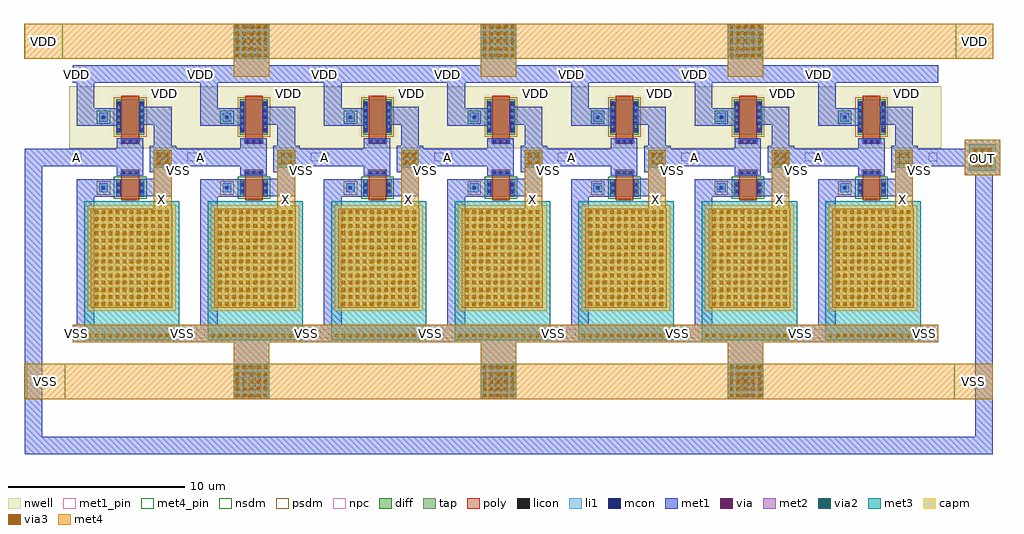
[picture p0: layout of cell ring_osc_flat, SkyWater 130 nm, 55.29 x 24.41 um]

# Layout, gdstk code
import gdstk
lib = gdstk.Library(unit=1e-6, precision=1e-09)
def R(c, l, rs):  # rectangles x0, y0, x1, y1
    for r in rs: c.add(gdstk.rectangle(r[:2], r[2:], *l))
def A(c, l, x, y, w, h, nx, ny, dx, dy):  # array of equal rectangles
    R(c, l, [(x+i*dx, y+j*dy, x+i*dx+w, y+j*dy+h) for i in range(nx) for j in range(ny)])
nwell = (64, 20)
diff = (65, 20)
tap = (65, 44)
poly = (66, 20)
licon = (66, 44)
li1 = (67, 20)
mcon = (67, 44)
met1_pin = (68, 16)
met1 = (68, 20)
via = (68, 44)
met2 = (69, 20)
via2 = (69, 44)
met3 = (70, 20)
via3 = (70, 44)
met4_pin = (71, 16)
met4 = (71, 20)
capm = (89, 44)
nsdm = (93, 44)
psdm = (94, 20)
npc = (95, 20)

ring_osc_flat = lib.new_cell('ring_osc_flat')
R(ring_osc_flat, nwell, [(-0.2,11,49.2,14.5)])
A(ring_osc_flat, diff, 2.47, 8.25, 1.6, 1, 7, 1, 7, 0)
A(ring_osc_flat, diff, 2.47, 11.77, 1.6, 2, 7, 1, 7, 0)
A(ring_osc_flat, tap, 1.5, 8.5, 0.5, 0.5, 7, 2, 7, 4)
A(ring_osc_flat, poly, 2.77, 8.05, 1, 1.73, 7, 1, 7, 0)
A(ring_osc_flat, poly, 2.77, 11.24, 1, 2.73, 7, 1, 7, 0)
A(ring_osc_flat, licon, 1.66, 8.66, 0.17, 0.17, 7, 2, 7, 4)
A(ring_osc_flat, licon, 2.82, 9.53, 0.17, 0.17, 3, 2, 0.36, 1.79)
A(ring_osc_flat, licon, 9.82, 9.53, 0.17, 0.17, 3, 2, 0.36, 1.79)
A(ring_osc_flat, licon, 16.82, 9.53, 0.17, 0.17, 3, 2, 0.36, 1.79)
A(ring_osc_flat, licon, 23.82, 9.53, 0.17, 0.17, 3, 2, 0.36, 1.79)
A(ring_osc_flat, licon, 30.82, 9.53, 0.17, 0.17, 3, 2, 0.36, 1.79)
A(ring_osc_flat, licon, 37.82, 9.53, 0.17, 0.17, 3, 2, 0.36, 1.79)
A(ring_osc_flat, licon, 44.82, 9.53, 0.17, 0.17, 3, 2, 0.36, 1.79)
A(ring_osc_flat, licon, 2.53, 11.96, 0.17, 0.17, 1, 5, 0, 0.36)
A(ring_osc_flat, licon, 3.83, 11.96, 0.17, 0.17, 1, 5, 0, 0.36)
A(ring_osc_flat, licon, 9.53, 11.96, 0.17, 0.17, 1, 5, 0, 0.36)
A(ring_osc_flat, licon, 10.83, 11.96, 0.17, 0.17, 1, 5, 0, 0.36)
A(ring_osc_flat, licon, 16.53, 11.96, 0.17, 0.17, 1, 5, 0, 0.36)
A(ring_osc_flat, licon, 17.83, 11.96, 0.17, 0.17, 1, 5, 0, 0.36)
A(ring_osc_flat, licon, 23.53, 11.96, 0.17, 0.17, 1, 5, 0, 0.36)
A(ring_osc_flat, licon, 24.83, 11.96, 0.17, 0.17, 1, 5, 0, 0.36)
A(ring_osc_flat, licon, 30.53, 11.96, 0.17, 0.17, 1, 5, 0, 0.36)
A(ring_osc_flat, licon, 31.83, 11.96, 0.17, 0.17, 1, 5, 0, 0.36)
A(ring_osc_flat, licon, 37.53, 11.96, 0.17, 0.17, 1, 5, 0, 0.36)
A(ring_osc_flat, licon, 38.83, 11.96, 0.17, 0.17, 1, 5, 0, 0.36)
A(ring_osc_flat, licon, 44.53, 11.96, 0.17, 0.17, 1, 5, 0, 0.36)
A(ring_osc_flat, licon, 45.83, 11.96, 0.17, 0.17, 1, 5, 0, 0.36)
R(ring_osc_flat, licon, [(2.53,8.48,2.7,8.65), (3.83,8.48,4,8.65), (9.53,8.48,9.7,8.65), (10.83,8.48,11,8.65), (16.53,8.48,16.7,8.65), (17.83,8.48,18,8.65), (23.53,8.48,23.7,8.65), (24.83,8.48,25,8.65), (30.53,8.48,30.7,8.65), (31.83,8.48,32,8.65), (37.53,8.48,37.7,8.65), (38.83,8.48,39,8.65), (44.53,8.48,44.7,8.65), (45.83,8.48,46,8.65), (2.53,8.84,2.7,9.01), (3.83,8.84,4,9.01), (9.53,8.84,9.7,9.01), (10.83,8.84,11,9.01), (16.53,8.84,16.7,9.01), (17.83,8.84,18,9.01), (23.53,8.84,23.7,9.01), (24.83,8.84,25,9.01), (30.53,8.84,30.7,9.01), (31.83,8.84,32,9.01), (37.53,8.84,37.7,9.01), (38.83,8.84,39,9.01), (44.53,8.84,44.7,9.01), (45.83,8.84,46,9.01)])
A(ring_osc_flat, li1, 1.5, 8.5, 0.5, 0.5, 7, 2, 7, 4)
A(ring_osc_flat, li1, 2.74, 9.53, 1.05, 0.17, 7, 2, 7, 1.79)
R(ring_osc_flat, li1, [(2.53,8.4,2.7,9.09), (3.83,8.4,4,9.09), (9.53,8.4,9.7,9.09), (10.83,8.4,11,9.09), (16.53,8.4,16.7,9.09), (17.83,8.4,18,9.09), (23.53,8.4,23.7,9.09), (24.83,8.4,25,9.09), (30.53,8.4,30.7,9.09), (31.83,8.4,32,9.09), (37.53,8.4,37.7,9.09), (38.83,8.4,39,9.09), (44.53,8.4,44.7,9.09), (45.83,8.4,46,9.09), (2.53,11.88,2.7,13.65), (3.83,11.88,4,13.65), (9.53,11.88,9.7,13.65), (10.83,11.88,11,13.65), (16.53,11.88,16.7,13.65), (17.83,11.88,18,13.65), (23.53,11.88,23.7,13.65), (24.83,11.88,25,13.65), (30.53,11.88,30.7,13.65), (31.83,11.88,32,13.65), (37.53,11.88,37.7,13.65), (38.83,11.88,39,13.65), (44.53,11.88,44.7,13.65), (45.83,11.88,46,13.65)])
A(ring_osc_flat, mcon, 1.66, 8.66, 0.17, 0.17, 7, 2, 7, 4)
A(ring_osc_flat, mcon, 2.82, 9.53, 0.17, 0.17, 3, 2, 0.36, 1.79)
A(ring_osc_flat, mcon, 9.82, 9.53, 0.17, 0.17, 3, 2, 0.36, 1.79)
A(ring_osc_flat, mcon, 16.82, 9.53, 0.17, 0.17, 3, 2, 0.36, 1.79)
A(ring_osc_flat, mcon, 23.82, 9.53, 0.17, 0.17, 3, 2, 0.36, 1.79)
A(ring_osc_flat, mcon, 30.82, 9.53, 0.17, 0.17, 3, 2, 0.36, 1.79)
A(ring_osc_flat, mcon, 37.82, 9.53, 0.17, 0.17, 3, 2, 0.36, 1.79)
A(ring_osc_flat, mcon, 44.82, 9.53, 0.17, 0.17, 3, 2, 0.36, 1.79)
A(ring_osc_flat, mcon, 2.53, 11.96, 0.17, 0.17, 1, 5, 0, 0.36)
A(ring_osc_flat, mcon, 3.83, 11.96, 0.17, 0.17, 1, 5, 0, 0.36)
A(ring_osc_flat, mcon, 9.53, 11.96, 0.17, 0.17, 1, 5, 0, 0.36)
A(ring_osc_flat, mcon, 10.83, 11.96, 0.17, 0.17, 1, 5, 0, 0.36)
A(ring_osc_flat, mcon, 16.53, 11.96, 0.17, 0.17, 1, 5, 0, 0.36)
A(ring_osc_flat, mcon, 17.83, 11.96, 0.17, 0.17, 1, 5, 0, 0.36)
A(ring_osc_flat, mcon, 23.53, 11.96, 0.17, 0.17, 1, 5, 0, 0.36)
A(ring_osc_flat, mcon, 24.83, 11.96, 0.17, 0.17, 1, 5, 0, 0.36)
A(ring_osc_flat, mcon, 30.53, 11.96, 0.17, 0.17, 1, 5, 0, 0.36)
A(ring_osc_flat, mcon, 31.83, 11.96, 0.17, 0.17, 1, 5, 0, 0.36)
A(ring_osc_flat, mcon, 37.53, 11.96, 0.17, 0.17, 1, 5, 0, 0.36)
A(ring_osc_flat, mcon, 38.83, 11.96, 0.17, 0.17, 1, 5, 0, 0.36)
A(ring_osc_flat, mcon, 44.53, 11.96, 0.17, 0.17, 1, 5, 0, 0.36)
A(ring_osc_flat, mcon, 45.83, 11.96, 0.17, 0.17, 1, 5, 0, 0.36)
R(ring_osc_flat, mcon, [(2.53,8.48,2.7,8.65), (3.83,8.48,4,8.65), (9.53,8.48,9.7,8.65), (10.83,8.48,11,8.65), (16.53,8.48,16.7,8.65), (17.83,8.48,18,8.65), (23.53,8.48,23.7,8.65), (24.83,8.48,25,8.65), (30.53,8.48,30.7,8.65), (31.83,8.48,32,8.65), (37.53,8.48,37.7,8.65), (38.83,8.48,39,8.65), (44.53,8.48,44.7,8.65), (45.83,8.48,46,8.65), (2.53,8.84,2.7,9.01), (3.83,8.84,4,9.01), (9.53,8.84,9.7,9.01), (10.83,8.84,11,9.01), (16.53,8.84,16.7,9.01), (17.83,8.84,18,9.01), (23.53,8.84,23.7,9.01), (24.83,8.84,25,9.01), (30.53,8.84,30.7,9.01), (31.83,8.84,32,9.01), (37.53,8.84,37.7,9.01), (38.83,8.84,39,9.01), (44.53,8.84,44.7,9.01), (45.83,8.84,46,9.01)])
A(ring_osc_flat, met1_pin, 0, 0.23, 0.5, 0.5, 7, 2, 7, 14.72)
R(ring_osc_flat, met1_pin, [(0,10.25,0.5,10.75), (6.49,10.25,6.99,10.75), (7,10.25,7.5,10.75), (13.49,10.25,13.99,10.75), (14,10.25,14.5,10.75), (20.49,10.25,20.99,10.75), (21,10.25,21.5,10.75), (27.49,10.25,27.99,10.75), (28,10.25,28.5,10.75), (34.49,10.25,34.99,10.75), (35,10.25,35.5,10.75), (41.49,10.25,41.99,10.75), (42,10.25,42.5,10.75), (48.49,10.25,48.99,10.75)])
A(ring_osc_flat, met1, 9.13, -3.21, 2, 3.21, 3, 1, 14, 0)
A(ring_osc_flat, met1, 0.24, 1, 1, 7.25, 7, 1, 7, 0)
A(ring_osc_flat, met1, 0.24, 8.25, 2.49, 1, 7, 2, 7, 4.02)
A(ring_osc_flat, met1, 3.8, 8.27, 1.81, 1, 7, 1, 7, 0)
A(ring_osc_flat, met1, 4.61, 9.27, 1, 0.38, 7, 1, 7, 0)
A(ring_osc_flat, met1, 2.5, 9.45, 1.5, 0.52, 7, 1, 7, 0)
A(ring_osc_flat, met1, 4.38, 9.65, 1.5, 0.32, 7, 1, 7, 0)
A(ring_osc_flat, met1, 4.38, 9.97, 6.62, 1, 6, 1, 7, 0)
A(ring_osc_flat, met1, 2.5, 10.97, 1.5, 0.58, 7, 1, 7, 0)
A(ring_osc_flat, met1, 4.38, 10.97, 1.5, 0.18, 7, 1, 7, 0)
A(ring_osc_flat, met1, 4.61, 11.15, 1, 1.19, 7, 1, 7, 0)
A(ring_osc_flat, met1, 2.5, 11.9, 0.23, 0.37, 7, 1, 7, 0)
A(ring_osc_flat, met1, 3.8, 11.9, 0.23, 0.44, 7, 1, 7, 0)
A(ring_osc_flat, met1, 3.77, 12.34, 1.84, 1, 7, 1, 7, 0)
A(ring_osc_flat, met1, 0.24, 13.27, 1, 1.43, 7, 1, 7, 0)
A(ring_osc_flat, met1, 2.5, 13.27, 0.23, 0.36, 7, 1, 7, 0)
A(ring_osc_flat, met1, 3.8, 13.34, 0.23, 0.29, 7, 1, 7, 0)
A(ring_osc_flat, met1, 9.13, 15.7, 2, 2.36, 3, 1, 14, 0)
R(ring_osc_flat, met1, [(-2.72,-6.35,52.13,-5.35), (-2.72,-5.35,-1.72,9.97), (51.13,-5.35,52.13,9.47), (0,0,49.03,1), (50.54,9.47,52.54,9.97), (-2.72,9.97,4,10.97), (46.38,9.97,52.54,10.97), (50.54,10.97,52.54,11.47), (0,14.7,49.03,15.7)])
A(ring_osc_flat, via, 9.255, -3.085, 0.15, 0.15, 6, 6, 0.32, 0.32)
A(ring_osc_flat, via, 23.255, -3.085, 0.15, 0.15, 6, 6, 0.32, 0.32)
A(ring_osc_flat, via, 37.255, -3.085, 0.15, 0.15, 6, 6, 0.32, 0.32)
A(ring_osc_flat, via, 51.005, 9.925, 0.15, 0.15, 4, 4, 0.32, 0.32)
A(ring_osc_flat, via, 4.715, 10.005, 0.15, 0.15, 3, 3, 0.32, 0.32)
A(ring_osc_flat, via, 11.715, 10.005, 0.15, 0.15, 3, 3, 0.32, 0.32)
A(ring_osc_flat, via, 18.715, 10.005, 0.15, 0.15, 3, 3, 0.32, 0.32)
A(ring_osc_flat, via, 25.715, 10.005, 0.15, 0.15, 3, 3, 0.32, 0.32)
A(ring_osc_flat, via, 32.715, 10.005, 0.15, 0.15, 3, 3, 0.32, 0.32)
A(ring_osc_flat, via, 39.715, 10.005, 0.15, 0.15, 3, 3, 0.32, 0.32)
A(ring_osc_flat, via, 46.715, 10.005, 0.15, 0.15, 3, 3, 0.32, 0.32)
A(ring_osc_flat, via, 9.255, 16.185, 0.15, 0.15, 6, 6, 0.32, 0.32)
A(ring_osc_flat, via, 23.255, 16.185, 0.15, 0.15, 6, 6, 0.32, 0.32)
A(ring_osc_flat, via, 37.255, 16.185, 0.15, 0.15, 6, 6, 0.32, 0.32)
A(ring_osc_flat, met2, 9.13, -3.21, 2, 2, 3, 2, 14, 19.27)
A(ring_osc_flat, met2, 4.61, 9.9, 1, 1, 7, 1, 7, 0)
R(ring_osc_flat, met2, [(50.81,9.73,52.31,11.23)])
A(ring_osc_flat, via2, 9.23, -3.11, 0.2, 0.2, 5, 5, 0.4, 0.4)
A(ring_osc_flat, via2, 23.23, -3.11, 0.2, 0.2, 5, 5, 0.4, 0.4)
A(ring_osc_flat, via2, 37.23, -3.11, 0.2, 0.2, 5, 5, 0.4, 0.4)
A(ring_osc_flat, via2, 51.06, 9.98, 0.2, 0.2, 3, 3, 0.4, 0.4)
A(ring_osc_flat, via2, 9.23, 16.16, 0.2, 0.2, 5, 5, 0.4, 0.4)
A(ring_osc_flat, via2, 23.23, 16.16, 0.2, 0.2, 5, 5, 0.4, 0.4)
A(ring_osc_flat, via2, 37.23, 16.16, 0.2, 0.2, 5, 5, 0.4, 0.4)
R(ring_osc_flat, via2, [(4.81,10.1,5.01,10.3), (5.21,10.1,5.41,10.3), (11.81,10.1,12.01,10.3), (12.21,10.1,12.41,10.3), (18.81,10.1,19.01,10.3), (19.21,10.1,19.41,10.3), (25.81,10.1,26.01,10.3), (26.21,10.1,26.41,10.3), (32.81,10.1,33.01,10.3), (33.21,10.1,33.41,10.3), (39.81,10.1,40.01,10.3), (40.21,10.1,40.41,10.3), (46.81,10.1,47.01,10.3), (47.21,10.1,47.41,10.3), (4.81,10.5,5.01,10.7), (5.21,10.5,5.41,10.7), (11.81,10.5,12.01,10.7), (12.21,10.5,12.41,10.7), (18.81,10.5,19.01,10.7), (19.21,10.5,19.41,10.7), (25.81,10.5,26.01,10.7), (26.21,10.5,26.41,10.7), (32.81,10.5,33.01,10.7), (33.21,10.5,33.41,10.7), (39.81,10.5,40.01,10.7), (40.21,10.5,40.41,10.7), (46.81,10.5,47.01,10.7), (47.21,10.5,47.41,10.7)])
A(ring_osc_flat, met3, 9.13, -3.21, 2, 2, 3, 2, 14, 19.27)
A(ring_osc_flat, met3, 0.65, 0.12, 5.4, 7.86, 7, 1, 7, 0)
A(ring_osc_flat, met3, 4.61, 9.9, 1, 1, 7, 1, 7, 0)
R(ring_osc_flat, met3, [(50.81,9.73,52.31,11.23)])
A(ring_osc_flat, via3, 9.23, -3.11, 0.2, 0.2, 5, 5, 0.4, 0.4)
A(ring_osc_flat, via3, 23.23, -3.11, 0.2, 0.2, 5, 5, 0.4, 0.4)
A(ring_osc_flat, via3, 37.23, -3.11, 0.2, 0.2, 5, 5, 0.4, 0.4)
A(ring_osc_flat, via3, 0.85, 0.28, 0.2, 0.2, 13, 1, 0.4, 0)
A(ring_osc_flat, via3, 7.85, 0.28, 0.2, 0.2, 13, 1, 0.4, 0)
A(ring_osc_flat, via3, 14.85, 0.28, 0.2, 0.2, 13, 1, 0.4, 0)
A(ring_osc_flat, via3, 21.85, 0.28, 0.2, 0.2, 13, 1, 0.4, 0)
A(ring_osc_flat, via3, 28.85, 0.28, 0.2, 0.2, 13, 1, 0.4, 0)
A(ring_osc_flat, via3, 35.85, 0.28, 0.2, 0.2, 13, 1, 0.4, 0)
A(ring_osc_flat, via3, 42.85, 0.28, 0.2, 0.2, 13, 1, 0.4, 0)
A(ring_osc_flat, via3, 1.25, 2.08, 0.2, 0.2, 11, 14, 0.4, 0.4)
A(ring_osc_flat, via3, 8.25, 2.08, 0.2, 0.2, 11, 14, 0.4, 0.4)
A(ring_osc_flat, via3, 15.25, 2.08, 0.2, 0.2, 11, 14, 0.4, 0.4)
A(ring_osc_flat, via3, 22.25, 2.08, 0.2, 0.2, 11, 14, 0.4, 0.4)
A(ring_osc_flat, via3, 29.25, 2.08, 0.2, 0.2, 11, 14, 0.4, 0.4)
A(ring_osc_flat, via3, 36.25, 2.08, 0.2, 0.2, 11, 14, 0.4, 0.4)
A(ring_osc_flat, via3, 43.25, 2.08, 0.2, 0.2, 11, 14, 0.4, 0.4)
A(ring_osc_flat, via3, 51.06, 9.98, 0.2, 0.2, 3, 3, 0.4, 0.4)
A(ring_osc_flat, via3, 9.23, 16.16, 0.2, 0.2, 5, 5, 0.4, 0.4)
A(ring_osc_flat, via3, 23.23, 16.16, 0.2, 0.2, 5, 5, 0.4, 0.4)
A(ring_osc_flat, via3, 37.23, 16.16, 0.2, 0.2, 5, 5, 0.4, 0.4)
R(ring_osc_flat, via3, [(4.81,10.1,5.01,10.3), (5.21,10.1,5.41,10.3), (11.81,10.1,12.01,10.3), (12.21,10.1,12.41,10.3), (18.81,10.1,19.01,10.3), (19.21,10.1,19.41,10.3), (25.81,10.1,26.01,10.3), (26.21,10.1,26.41,10.3), (32.81,10.1,33.01,10.3), (33.21,10.1,33.41,10.3), (39.81,10.1,40.01,10.3), (40.21,10.1,40.41,10.3), (46.81,10.1,47.01,10.3), (47.21,10.1,47.41,10.3), (4.81,10.5,5.01,10.7), (5.21,10.5,5.41,10.7), (11.81,10.5,12.01,10.7), (12.21,10.5,12.41,10.7), (18.81,10.5,19.01,10.7), (19.21,10.5,19.41,10.7), (25.81,10.5,26.01,10.7), (26.21,10.5,26.41,10.7), (32.81,10.5,33.01,10.7), (33.21,10.5,33.41,10.7), (39.81,10.5,40.01,10.7), (40.21,10.5,40.41,10.7), (46.81,10.5,47.01,10.7), (47.21,10.5,47.41,10.7)])
R(ring_osc_flat, met4_pin, [(-2.59,-3.21,-0.42,-1.21), (49.96,-3.21,52.13,-1.21), (51.05,9.94,52.05,10.94), (-2.7,16.06,-0.55,18.06), (50.02,16.06,52.17,18.06)])
A(ring_osc_flat, met4, 9.13, -1.21, 2, 1.21, 3, 1, 14, 0)
A(ring_osc_flat, met4, 1.04, 1.97, 4.61, 5.61, 7, 1, 7, 0)
A(ring_osc_flat, met4, 4.61, 7.58, 1, 3.32, 7, 1, 7, 0)
A(ring_osc_flat, met4, 9.13, 15.06, 2, 1, 3, 1, 14, 0)
R(ring_osc_flat, met4, [(-2.75,-3.21,52.13,-1.21), (0,0,49.03,1), (50.54,9.47,52.54,11.47), (-2.75,16.06,52.17,18.06)])
A(ring_osc_flat, capm, 0.85, 1.78, 5, 6, 7, 1, 7, 0)
A(ring_osc_flat, nsdm, 2.345, 8.125, 1.85, 1.25, 7, 1, 7, 0)
A(ring_osc_flat, nsdm, 1.375, 12.375, 0.75, 0.75, 7, 1, 7, 0)
A(ring_osc_flat, psdm, 1.375, 8.375, 0.75, 0.75, 7, 1, 7, 0)
A(ring_osc_flat, psdm, 2.345, 11.645, 1.85, 2.25, 7, 1, 7, 0)
A(ring_osc_flat, npc, 2.72, 9.43, 1.09, 0.37, 7, 2, 7, 1.79)
ring_osc_flat.add(gdstk.Label('VSS', (5.99,9.71), layer=64, texttype=59))
ring_osc_flat.add(gdstk.Label('VSS', (12.99,9.71), layer=64, texttype=59))
ring_osc_flat.add(gdstk.Label('VSS', (19.99,9.71), layer=64, texttype=59))
ring_osc_flat.add(gdstk.Label('VSS', (26.99,9.71), layer=64, texttype=59))
ring_osc_flat.add(gdstk.Label('VSS', (33.99,9.71), layer=64, texttype=59))
ring_osc_flat.add(gdstk.Label('VSS', (40.99,9.71), layer=64, texttype=59))
ring_osc_flat.add(gdstk.Label('VSS', (47.99,9.71), layer=64, texttype=59))
ring_osc_flat.add(gdstk.Label('VDD', (5.23,14.12), layer=64, texttype=5))
ring_osc_flat.add(gdstk.Label('VDD', (12.23,14.12), layer=64, texttype=5))
ring_osc_flat.add(gdstk.Label('VDD', (19.23,14.12), layer=64, texttype=5))
ring_osc_flat.add(gdstk.Label('VDD', (26.23,14.12), layer=64, texttype=5))
ring_osc_flat.add(gdstk.Label('VDD', (33.23,14.12), layer=64, texttype=5))
ring_osc_flat.add(gdstk.Label('VDD', (40.23,14.12), layer=64, texttype=5))
ring_osc_flat.add(gdstk.Label('VDD', (47.23,14.12), layer=64, texttype=5))
ring_osc_flat.add(gdstk.Label('OUT', (51.55,10.44), layer=71, texttype=5))
ring_osc_flat.add(gdstk.Label('VDD', (-1.625,17.06), layer=71, texttype=5))
ring_osc_flat.add(gdstk.Label('VDD', (51.095,17.06), layer=71, texttype=5))
ring_osc_flat.add(gdstk.Label('VSS', (-1.505,-2.21), layer=71, texttype=5))
ring_osc_flat.add(gdstk.Label('VSS', (51.045,-2.21), layer=71, texttype=5))
ring_osc_flat.add(gdstk.Label('VSS', (6.25,0.5), layer=71, texttype=5))
ring_osc_flat.add(gdstk.Label('VSS', (13.25,0.5), layer=71, texttype=5))
ring_osc_flat.add(gdstk.Label('VSS', (20.25,0.5), layer=71, texttype=5))
ring_osc_flat.add(gdstk.Label('VSS', (27.25,0.5), layer=71, texttype=5))
ring_osc_flat.add(gdstk.Label('VSS', (34.25,0.5), layer=71, texttype=5))
ring_osc_flat.add(gdstk.Label('VSS', (41.25,0.5), layer=71, texttype=5))
ring_osc_flat.add(gdstk.Label('VSS', (48.25,0.5), layer=71, texttype=5))
ring_osc_flat.add(gdstk.Label('X', (5.04,8.08), layer=71, texttype=5))
ring_osc_flat.add(gdstk.Label('X', (12.04,8.08), layer=71, texttype=5))
ring_osc_flat.add(gdstk.Label('X', (19.04,8.08), layer=71, texttype=5))
ring_osc_flat.add(gdstk.Label('X', (26.04,8.08), layer=71, texttype=5))
ring_osc_flat.add(gdstk.Label('X', (33.04,8.08), layer=71, texttype=5))
ring_osc_flat.add(gdstk.Label('X', (40.04,8.08), layer=71, texttype=5))
ring_osc_flat.add(gdstk.Label('X', (47.04,8.08), layer=71, texttype=5))
ring_osc_flat.add(gdstk.Label('VDD', (0.25,15.2), layer=68, texttype=5))
ring_osc_flat.add(gdstk.Label('VDD', (7.25,15.2), layer=68, texttype=5))
ring_osc_flat.add(gdstk.Label('VDD', (14.25,15.2), layer=68, texttype=5))
ring_osc_flat.add(gdstk.Label('VDD', (21.25,15.2), layer=68, texttype=5))
ring_osc_flat.add(gdstk.Label('VDD', (28.25,15.2), layer=68, texttype=5))
ring_osc_flat.add(gdstk.Label('VDD', (35.25,15.2), layer=68, texttype=5))
ring_osc_flat.add(gdstk.Label('VDD', (42.25,15.2), layer=68, texttype=5))
ring_osc_flat.add(gdstk.Label('VSS', (0.25,0.48), layer=68, texttype=5))
ring_osc_flat.add(gdstk.Label('VSS', (7.25,0.48), layer=68, texttype=5))
ring_osc_flat.add(gdstk.Label('VSS', (14.25,0.48), layer=68, texttype=5))
ring_osc_flat.add(gdstk.Label('VSS', (21.25,0.48), layer=68, texttype=5))
ring_osc_flat.add(gdstk.Label('VSS', (28.25,0.48), layer=68, texttype=5))
ring_osc_flat.add(gdstk.Label('VSS', (35.25,0.48), layer=68, texttype=5))
ring_osc_flat.add(gdstk.Label('VSS', (42.25,0.48), layer=68, texttype=5))
ring_osc_flat.add(gdstk.Label('X', (6.74,10.5), layer=68, texttype=5))
ring_osc_flat.add(gdstk.Label('X', (13.74,10.5), layer=68, texttype=5))
ring_osc_flat.add(gdstk.Label('X', (20.74,10.5), layer=68, texttype=5))
ring_osc_flat.add(gdstk.Label('X', (27.74,10.5), layer=68, texttype=5))
ring_osc_flat.add(gdstk.Label('X', (34.74,10.5), layer=68, texttype=5))
ring_osc_flat.add(gdstk.Label('X', (41.74,10.5), layer=68, texttype=5))
ring_osc_flat.add(gdstk.Label('X', (48.74,10.5), layer=68, texttype=5))
ring_osc_flat.add(gdstk.Label('A', (0.25,10.5), layer=68, texttype=5))
ring_osc_flat.add(gdstk.Label('A', (7.25,10.5), layer=68, texttype=5))
ring_osc_flat.add(gdstk.Label('A', (14.25,10.5), layer=68, texttype=5))
ring_osc_flat.add(gdstk.Label('A', (21.25,10.5), layer=68, texttype=5))
ring_osc_flat.add(gdstk.Label('A', (28.25,10.5), layer=68, texttype=5))
ring_osc_flat.add(gdstk.Label('A', (35.25,10.5), layer=68, texttype=5))
ring_osc_flat.add(gdstk.Label('A', (42.25,10.5), layer=68, texttype=5))

lib.write_gds('ring_osc_flat.gds')
